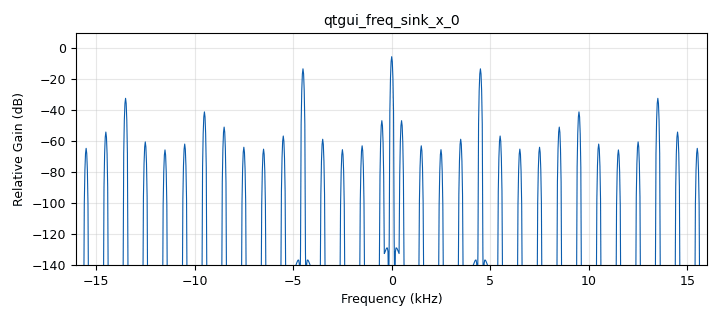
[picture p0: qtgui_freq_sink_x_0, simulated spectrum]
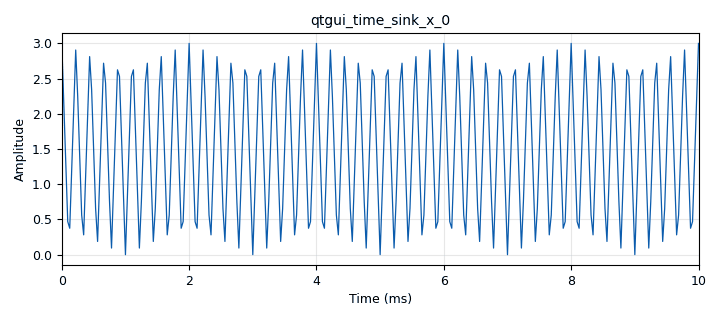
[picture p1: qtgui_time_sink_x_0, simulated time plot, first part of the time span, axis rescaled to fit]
options:
  parameters:
    generate_options: qt_gui
    id: lab_comu_1
    output_language: python
    title: primer flujograma
  states: {}

blocks:
- name: frequency
  id: variable_qtgui_range
  parameters:
    start: '-samp_rate/2'
    step: '100'
    stop: samp_rate/2
    value: '4500'
    widget: counter
  states: {}
- name: frequency
  id: variable
  parameters:
    value: samp_rate/3
  states: {state: disabled}
- name: samp_rate
  id: variable
  parameters:
    value: '32000'
  states: {}
- name: analog_sig_source_x_0
  id: analog_sig_source_x
  parameters:
    amp: '3'
    freq: frequency
    offset: '0'
    phase: '0'
    samp_rate: samp_rate
    type: float
    waveform: analog.GR_TRI_WAVE
  states: {}
- name: blocks_throttle2_0
  id: blocks_throttle2
  parameters:
    samples_per_second: samp_rate
    type: float
  states: {}
- name: qtgui_freq_sink_x_0
  id: qtgui_freq_sink_x
  parameters:
    bw: samp_rate
    fc: '0'
    fftsize: '1024'
    type: float
  states: {}
- name: qtgui_time_sink_x_0
  id: qtgui_time_sink_x
  parameters:
    size: '1024'
    srate: samp_rate
    type: float
  states: {}

connections:
- [analog_sig_source_x_0, '0', blocks_throttle2_0, '0']
- [blocks_throttle2_0, '0', qtgui_freq_sink_x_0, '0']
- [blocks_throttle2_0, '0', qtgui_time_sink_x_0, '0']

metadata:
  file_format: 1
  grc_version: 3.10.10.0
